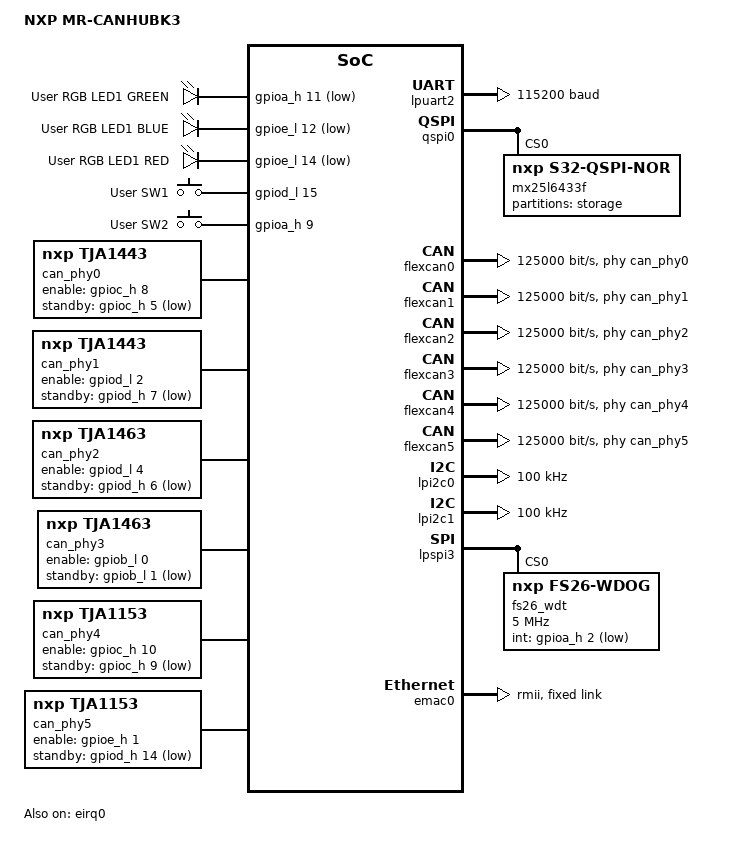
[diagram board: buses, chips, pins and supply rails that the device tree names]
/*
 * Copyright 2023 NXP
 *
 * SPDX-License-Identifier: Apache-2.0
 */

/dts-v1/;
#include <arm/nxp/nxp_s32k344_m7.dtsi>
#include <dt-bindings/gpio/gpio.h>
#include <zephyr/dt-bindings/input/input-event-codes.h>
#include <freq.h>
#include "mr_canhubk3-pinctrl.dtsi"

/ {
	model = "NXP MR-CANHUBK3";
	compatible = "nxp,mr_canhubk3";

	chosen {
		zephyr,sram = &sram0_1;
		zephyr,flash = &flash0;
		zephyr,itcm = &itcm;
		zephyr,dtcm = &dtcm;
		zephyr,code-partition = &code_partition;
		zephyr,console = &lpuart2;
		zephyr,shell-uart = &lpuart2;
		zephyr,flash-controller = &mx25l6433f;
		zephyr,canbus = &flexcan0;
	};

	aliases {
		led0 = &user_led1_red;
		led1 = &user_led1_green;
		led2 = &user_led1_blue;
		sw0 = &user_button_1;
		sw1 = &user_button_2;
		watchdog0 = &fs26_wdt;
	};

	leds {
		compatible = "gpio-leds";
		user_led1_green: user_led1_green {
			gpios = <&gpioa_h 11 GPIO_ACTIVE_LOW>;
			label = "User RGB LED1 GREEN";
		};
		user_led1_blue: user_led1_blue {
			gpios = <&gpioe_l 12 GPIO_ACTIVE_LOW>;
			label = "User RGB LED1 BLUE";
		};
		user_led1_red: user_led1_red {
			gpios = <&gpioe_l 14 GPIO_ACTIVE_LOW>;
			label = "User RGB LED1 RED";
		};
	};

	gpio_keys {
		compatible = "gpio-keys";
		user_button_1: button_0 {
			label = "User SW1";
			gpios = <&gpiod_l 15 GPIO_ACTIVE_HIGH>;
			zephyr,code = <INPUT_KEY_0>;
		};
		user_button_2: button_1 {
			label = "User SW2";
			gpios = <&gpioa_h 9 GPIO_ACTIVE_HIGH>;
			zephyr,code = <INPUT_KEY_1>;
		};
	};

	can_phy0: can-phy0 {
		compatible = "nxp,tja1443", "can-transceiver-gpio";
		enable-gpios = <&gpioc_h 8 GPIO_ACTIVE_HIGH>;
		standby-gpios = <&gpioc_h 5 GPIO_ACTIVE_LOW>;
		max-bitrate = <5000000>;
		#phy-cells = <0>;
	};

	can_phy1: can-phy1 {
		compatible = "nxp,tja1443", "can-transceiver-gpio";
		enable-gpios = <&gpiod_l 2 GPIO_ACTIVE_HIGH>;
		standby-gpios = <&gpiod_h 7 GPIO_ACTIVE_LOW>;
		max-bitrate = <5000000>;
		#phy-cells = <0>;
	};

	can_phy2: can-phy2 {
		compatible = "nxp,tja1463", "can-transceiver-gpio";
		enable-gpios = <&gpiod_l 4 GPIO_ACTIVE_HIGH>;
		standby-gpios = <&gpiod_h 6 GPIO_ACTIVE_LOW>;
		max-bitrate = <8000000>;
		#phy-cells = <0>;
	};

	can_phy3: can-phy3 {
		compatible = "nxp,tja1463", "can-transceiver-gpio";
		enable-gpios = <&gpiob_l 0 GPIO_ACTIVE_HIGH>;
		standby-gpios = <&gpiob_l 1 GPIO_ACTIVE_LOW>;
		max-bitrate = <8000000>;
		#phy-cells = <0>;
	};

	can_phy4: can-phy4 {
		compatible = "nxp,tja1153", "can-transceiver-gpio";
		enable-gpios = <&gpioc_h 10 GPIO_ACTIVE_HIGH>;
		standby-gpios = <&gpioc_h 9 GPIO_ACTIVE_LOW>;
		max-bitrate = <2000000>;
		#phy-cells = <0>;
	};

	can_phy5: can-phy5 {
		compatible = "nxp,tja1153", "can-transceiver-gpio";
		enable-gpios = <&gpioe_h 1 GPIO_ACTIVE_HIGH>;
		standby-gpios = <&gpiod_h 14 GPIO_ACTIVE_LOW>;
		max-bitrate = <2000000>;
		#phy-cells = <0>;
	};
};

&flash0 {
	partitions {
		compatible = "fixed-partitions";
		#address-cells = <1>;
		#size-cells = <1>;

		ivt_header: partition@0 {
			label = "ivt-header";
			reg = <0x00000000 0x100>;
		};

		code_partition: partition@100 {
			label = "code-partition";
			reg = <0x00000100 (DT_SIZE_K(4048) - 0x100)>;
		};
	};
};

&gpioa_h {
	status = "okay";
};

&gpioe_l {
	status = "okay";
};

/* Enable gpio to control the CAN transceivers */

&gpioc_h {
	status = "okay";
};

&gpiod_l {
	status = "okay";
};

&gpiod_h {
	status = "okay";
};

&gpiob_l {
	status = "okay";
};

&gpioe_h {
	status = "okay";
};

&eirq0 {
	pinctrl-0 = <&eirq0_default>;
	pinctrl-names = "default";
	status = "okay";
};

&lpuart0 {
	pinctrl-0 = <&lpuart0_default>;
	pinctrl-names = "default";
};

&lpuart1 {
	pinctrl-0 = <&lpuart1_default>;
	pinctrl-names = "default";
};

&lpuart2 {
	pinctrl-0 = <&lpuart2_default>;
	pinctrl-names = "default";
	current-speed = <115200>;
	status = "okay";
};

&lpuart9 {
	pinctrl-0 = <&lpuart9_default>;
	pinctrl-names = "default";
};

&lpuart10 {
	pinctrl-0 = <&lpuart10_default>;
	pinctrl-names = "default";
};

&lpuart13 {
	pinctrl-0 = <&lpuart13_default>;
	pinctrl-names = "default";
};

&lpuart14 {
	pinctrl-0 = <&lpuart14_default>;
	pinctrl-names = "default";
};

&qspi0 {
	pinctrl-0 = <&qspi0_default>;
	pinctrl-names = "default";
	data-rate = "SDR";
	a-rx-clock-source = "LOOPBACK";
	a-dll-mode = "BYPASSED";
	ahb-buffers-masters = <0 1 2 3>;
	ahb-buffers-sizes = <0 0 0 256>;
	ahb-buffers-all-masters;
	status = "okay";

	mx25l6433f: mx25l6433f@0 {
		compatible = "nxp,s32-qspi-nor";
		reg = <0>;
		size = <DT_SIZE_M(64)>;
		jedec-id = [c2 20 17];
		quad-enable-requirements = "S1B6";
		readoc = "1-4-4";
		writeoc = "1-4-4";
		has-32k-erase;
		status = "okay";

		partitions {
			compatible = "fixed-partitions";
			#address-cells = <1>;
			#size-cells = <1>;

			storage_partition: partition@0 {
				label = "storage";
				reg = <0x0 0x100000>;
			};
		};
	};
};

&flexcan0 {
	pinctrl-0 = <&flexcan0_default>;
	pinctrl-names = "default";
	phys = <&can_phy0>;
	bus-speed = <125000>;
	sample-point = <875>;
	sjw = <1>;
	bus-speed-data = <1000000>;
	sample-point-data = <875>;
	sjw-data = <1>;
	status = "okay";
};

&flexcan1 {
	pinctrl-0 = <&flexcan1_default>;
	pinctrl-names = "default";
	phys = <&can_phy1>;
	bus-speed = <125000>;
	sample-point = <875>;
	sjw = <1>;
	bus-speed-data = <1000000>;
	sample-point-data = <875>;
	sjw-data = <1>;
};

&flexcan2 {
	pinctrl-0 = <&flexcan2_default>;
	pinctrl-names = "default";
	phys = <&can_phy2>;
	bus-speed = <125000>;
	sample-point = <875>;
	sjw = <1>;
	bus-speed-data = <1000000>;
	sample-point-data = <875>;
	sjw-data = <1>;
};

&flexcan3 {
	pinctrl-0 = <&flexcan3_default>;
	pinctrl-names = "default";
	phys = <&can_phy3>;
	bus-speed = <125000>;
	sample-point = <875>;
	sjw = <1>;
	bus-speed-data = <1000000>;
	sample-point-data = <875>;
	sjw-data = <1>;
};

&flexcan4 {
	pinctrl-0 = <&flexcan4_default>;
	pinctrl-names = "default";
	phys = <&can_phy4>;
	bus-speed = <125000>;
	sample-point = <875>;
	sjw = <1>;
	bus-speed-data = <1000000>;
	sample-point-data = <875>;
	sjw-data = <1>;
};

&flexcan5 {
	pinctrl-0 = <&flexcan5_default>;
	pinctrl-names = "default";
	phys = <&can_phy5>;
	bus-speed = <125000>;
	sample-point = <875>;
	sjw = <1>;
	bus-speed-data = <1000000>;
	sample-point-data = <875>;
	sjw-data = <1>;
};

&lpi2c0 {
	pinctrl-0 = <&lpi2c0_default>;
	pinctrl-names = "default";
	clock-frequency = <I2C_BITRATE_STANDARD>;
};

&lpi2c1 {
	pinctrl-0 = <&lpi2c1_default>;
	pinctrl-names = "default";
	clock-frequency = <I2C_BITRATE_STANDARD>;
};

&lpspi1 {
	pinctrl-0 = <&lpspi1_default>;
	pinctrl-names = "default";
	data-pin-config = "sdo-in,sdi-out";
};

&lpspi2 {
	pinctrl-0 = <&lpspi2_default>;
	pinctrl-names = "default";
	data-pin-config = "sdo-in,sdi-out";
};

&lpspi3 {
	pinctrl-0 = <&lpspi3_default>;
	pinctrl-names = "default";
	data-pin-config = "sdo-in,sdi-out";
	status = "okay";

	fs26_wdt: watchdog@0 {
		compatible = "nxp,fs26-wdog";
		reg = <0>;
		spi-max-frequency = <DT_FREQ_M(5)>;
		type = "challenger";
		int-gpios = <&gpioa_h 2 GPIO_ACTIVE_LOW>;
		status = "okay";
	};
};

&lpspi4 {
	pinctrl-0 = <&lpspi4_default>;
	pinctrl-names = "default";
	data-pin-config = "sdo-in,sdi-out";
};

&lpspi5 {
	pinctrl-0 = <&lpspi5_default>;
	pinctrl-names = "default";
	data-pin-config = "sdo-in,sdi-out";
};

&emac0 {
	pinctrl-0 = <&emac0_default>;
	pinctrl-names = "default";
	phy-connection-type = "rmii";
	local-mac-address = [02 04 9f aa bb cc];
	status = "okay";

	fixed-link {
		speed = <100>;
		full-duplex;
	};
};
